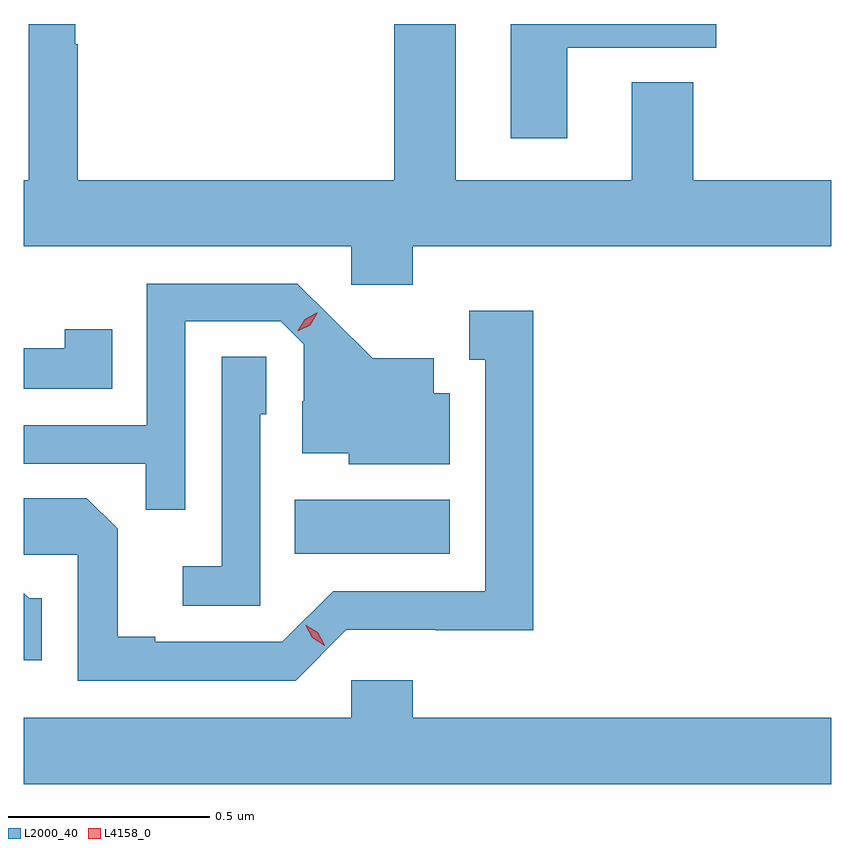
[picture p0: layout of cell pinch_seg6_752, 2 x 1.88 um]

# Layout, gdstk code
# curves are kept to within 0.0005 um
import gdstk
lib = gdstk.Library(unit=1e-6, precision=1e-09)
def R(c, l, rs):  # rectangles x0, y0, x1, y1
    for r in rs: c.add(gdstk.rectangle(r[:2], r[2:], *l))
def P(c, l, *ps):  # polygons
    for p in ps: c.add(gdstk.Polygon(p, *l))
L2000_40 = (2000, 40)
L4158_0 = (4158, 0)

pinch_seg6_752 = lib.new_cell('pinch_seg6_752')
R(pinch_seg6_752, L2000_40, [(602.458,942.578,602.842,942.712)])
P(pinch_seg6_752, L2000_40, [(602.75,943.34),(603.787,943.34),(603.787,943.504),(603.446,943.504),(603.446,943.747),(603.293,943.747),(603.293,943.504),(602.857,943.504),(602.857,943.891),(602.705,943.891),(602.705,943.504),(601.921,943.504),(601.921,943.841),(601.914,943.841),(601.914,943.891),(601.799,943.891),(601.799,943.504),(601.787,943.504),(601.787,943.34),(602.598,943.34),(602.598,943.245),(602.75,943.245)],
  [(603.133,943.832),(603.503,943.832),(603.503,943.891),(602.993,943.891),(602.993,943.608),(603.133,943.608)],
  [(602.187,943.155),(602.424,943.155),(602.481,943.098),(602.481,942.956),(602.477,942.956),(602.477,942.827),(602.592,942.827),(602.592,942.8),(602.842,942.8),(602.842,942.976),(602.803,942.976),(602.803,943.063),(602.651,943.063),(602.464,943.248),(602.091,943.248),(602.091,942.897),(601.787,942.897),(601.787,942.801),(602.089,942.801),(602.089,942.688),(602.187,942.688)],
  [(602.586,942.39),(602.808,942.39),(602.808,942.389),(603.049,942.389),(603.049,943.18),(602.891,943.18),(602.891,943.059),(602.93,943.059),(602.93,942.486),(602.553,942.486),(602.427,942.36),(602.113,942.36),(602.113,942.373),(602.019,942.373),(602.019,942.64),(601.943,942.716),(601.787,942.716),(601.787,942.576),(601.92,942.576),(601.92,942.264),(602.46,942.264)],
  [(602.006,943.135),(601.888,943.135),(601.888,943.088),(601.787,943.088),(601.787,942.987),(602.006,942.987)],
  [(602.373,942.924),(602.388,942.924),(602.388,943.067),(602.277,943.067),(602.277,942.547),(602.181,942.547),(602.181,942.45),(602.373,942.45)],
  [(601.831,942.468),(601.8,942.468),(601.787,942.481),(601.787,942.314),(601.831,942.314)],
  [(603.787,942.172),(602.75,942.172),(602.75,942.265),(602.598,942.265),(602.598,942.172),(601.787,942.172),(601.787,942.008),(603.787,942.008)])
P(pinch_seg6_752, L4158_0, [(602.532,942.351),(602.501,942.37),(602.484,942.403),(602.484,942.403),(602.484,942.403),(602.515,942.384),(602.533,942.352),(602.533,942.351)],
  [(602.465,943.13),(602.465,943.131),(602.483,943.16),(602.513,943.175),(602.514,943.175),(602.514,943.174),(602.496,943.145),(602.465,943.13)])

lib.write_gds('pinch_seg6_752.gds')
